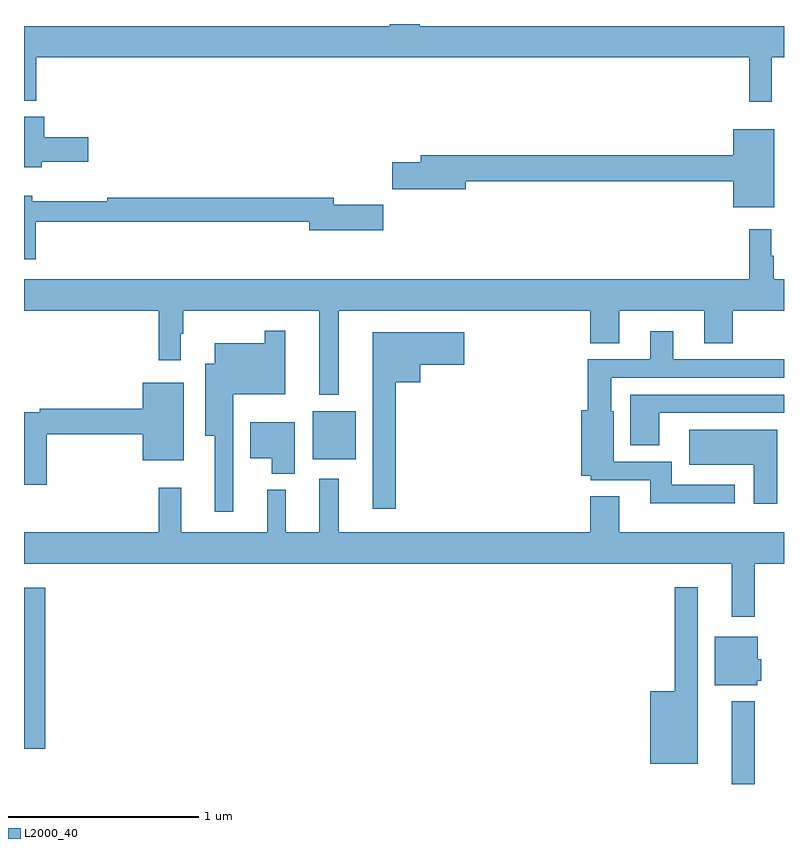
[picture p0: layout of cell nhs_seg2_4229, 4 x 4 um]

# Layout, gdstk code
import gdstk
lib = gdstk.Library(unit=1e-6, precision=1e-09)
def R(c, l, rs):  # rectangles x0, y0, x1, y1
    for r in rs: c.add(gdstk.rectangle(r[:2], r[2:], *l))
def P(c, l, *ps):  # polygons
    for p in ps: c.add(gdstk.Polygon(p, *l))
L2000_40 = (2000, 40)

nhs_seg2_4229 = lib.new_cell('nhs_seg2_4229')
R(nhs_seg2_4229, L2000_40, [(342.725,655.8,342.847,656.236), (339,655.986,339.113,656.833), (340.52,657.509,340.747,657.763)])
P(nhs_seg2_4229, L2000_40, [(342.935,659.624),(343,659.624),(343,659.788),(341.084,659.788),(341.084,659.8),(340.924,659.8),(340.924,659.788),(339,659.788),(339,659.396),(339.065,659.396),(339.065,659.624),(342.817,659.624),(342.817,659.391),(342.935,659.391)],
  [(339.094,659.075),(339.337,659.075),(339.337,659.205),(339.107,659.205),(339.107,659.311),(339,659.311),(339,659.045),(339.094,659.045)],
  [(342.949,659.245),(342.734,659.245),(342.734,659.108),(341.087,659.108),(341.087,659.072),(340.938,659.072),(340.938,658.93),(341.326,658.93),(341.326,658.972),(342.734,658.972),(342.734,658.835),(342.949,658.835)],
  [(339.062,658.758),(340.502,658.758),(340.502,658.715),(340.891,658.715),(340.891,658.85),(340.63,658.85),(340.63,658.886),(339.439,658.886),(339.439,658.868),(339.043,658.868),(339.043,658.897),(339,658.897),(339,658.563),(339.062,658.563)],
  [(340.657,658.292),(341.981,658.292),(341.981,658.12),(342.133,658.12),(342.133,658.292),(342.581,658.292),(342.581,658.12),(342.729,658.12),(342.729,658.292),(343,658.292),(343,658.456),(342.946,658.456),(342.946,658.58),(342.934,658.58),(342.934,658.72),(342.817,658.72),(342.817,658.456),(339,658.456),(339,658.292),(339.709,658.292),(339.709,658.029),(339.825,658.029),(339.825,658.169),(339.838,658.169),(339.838,658.292),(340.553,658.292),(340.553,657.848),(340.657,657.848)],
  [(340.101,657.851),(340.374,657.851),(340.374,658.186),(340.266,658.186),(340.266,658.12),(340.004,658.12),(340.004,658.012),(339.953,658.012),(339.953,657.632),(340.004,657.632),(340.004,657.234),(340.101,657.234)],
  [(342.742,657.375),(342.409,657.375),(342.409,657.495),(342.103,657.495),(342.103,657.762),(342.091,657.762),(342.091,657.939),(343,657.939),(343,658.035),(342.418,658.035),(342.418,658.183),(342.296,658.183),(342.296,658.035),(341.966,658.035),(341.966,657.766),(341.933,657.766),(341.933,657.422),(341.982,657.422),(341.982,657.399),(342.296,657.399),(342.296,657.278),(342.742,657.278)],
  [(340.957,657.914),(341.086,657.914),(341.086,658.007),(341.317,658.007),(341.317,658.177),(340.835,658.177),(340.835,657.249),(340.957,657.249)],
  [(339.119,657.64),(339.626,657.64),(339.626,657.503),(339.841,657.503),(339.841,657.913),(339.626,657.913),(339.626,657.776),(339.082,657.776),(339.082,657.756),(339,657.756),(339,657.375),(339.119,657.375)],
  [(342.343,657.753),(343,657.753),(343,657.849),(342.191,657.849),(342.191,657.582),(342.343,657.582)],
  [(340.426,657.703),(340.19,657.703),(340.19,657.515),(340.304,657.515),(340.304,657.434),(340.426,657.434)],
  [(342.964,657.664),(342.5,657.664),(342.5,657.479),(342.842,657.479),(342.842,657.276),(342.964,657.276)],
  [(342.847,656.96),(343,656.96),(343,657.124),(342.133,657.124),(342.133,657.314),(341.981,657.314),(341.981,657.124),(340.657,657.124),(340.657,657.406),(340.553,657.406),(340.553,657.124),(340.378,657.124),(340.378,657.349),(340.28,657.349),(340.28,657.124),(339.827,657.124),(339.827,657.358),(339.709,657.358),(339.709,657.124),(339,657.124),(339,656.96),(342.725,656.96),(342.725,656.679),(342.847,656.679)],
  [(342.547,656.836),(342.426,656.836),(342.426,656.287),(342.296,656.287),(342.296,655.907),(342.547,655.907)],
  [(342.858,656.343),(342.88,656.343),(342.88,656.457),(342.862,656.457),(342.862,656.575),(342.635,656.575),(342.635,656.321),(342.858,656.321)])

lib.write_gds('nhs_seg2_4229.gds')
